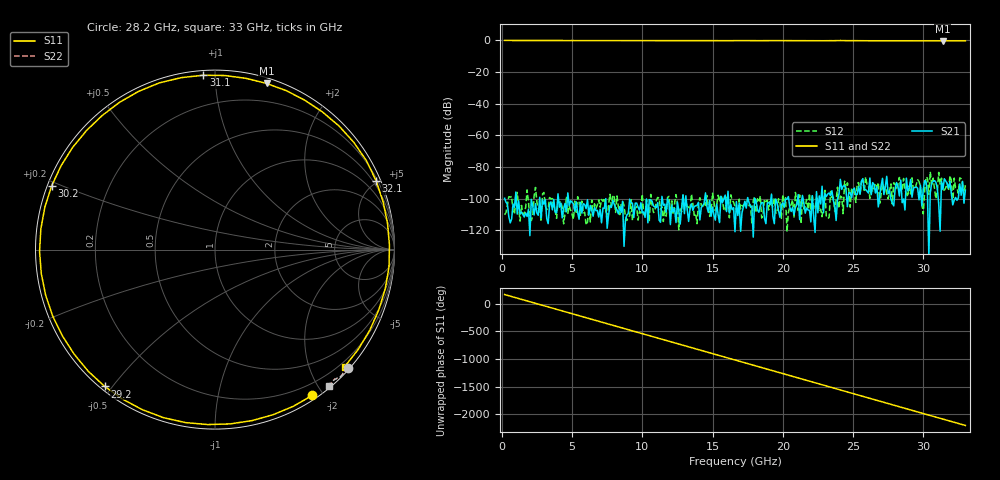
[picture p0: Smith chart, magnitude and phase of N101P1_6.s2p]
# GHZ S RI R 50
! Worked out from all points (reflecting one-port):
!   329 points, 200 MHz to 33 GHz, reference 50 ohm
!   lowest |S11| = -0.3 dB at 31.4 GHz (marker M1), VSWR 63.89, Z = 2.22 + j67.8 ohm
!   phase of S11 starts at 165 deg and turns -2368 deg over the sweep
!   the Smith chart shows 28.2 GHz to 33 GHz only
!   S11 on the Smith chart (normalised r, x): 28.2 GHz: 0.05, -1.87; 29.2 GHz: 0.01, -0.48; 30.2 GHz: 0.01, +0.19; 31.1 GHz: 0.03, +0.93; 32.1 GHz: 0.30, +4.88; 33 GHz: 0.10, -2.59
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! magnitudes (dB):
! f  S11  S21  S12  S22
! 200 MHz  0.0  -99.7  -110.2  0.0
! 5.7 GHz  -0.1  -109.1  -101.5  0.0
! 11.2 GHz  -0.2  -113.6  -99.8  0.0
! 16.6 GHz  -0.1  -120.9  -104.9  0.0
! 20.3 GHz  -0.1  -100.4  -120.9  -0.1
! 22.1 GHz  -0.2  -98.2  -97.5  -0.1
! 23.5 GHz  -0.2  -95.0  -99.4  -0.1
! 23.9 GHz  -0.1  -100.0  -92.8  0.1
! 24.3 GHz  -0.1  -92.0  -109.5  0.0
! 24.5 GHz  -0.1  -94.2  -93.9  0.0
! 26.1 GHz  -0.2  -96.5  -91.8  0.0
! 26.6 GHz  -0.2  -96.4  -90.5  -0.1
! 27.6 GHz  -0.2  -95.1  -94.9  0.0
! 28.2 GHz  -0.2  -92.1  -90.9  -0.1
! 28.6 GHz  -0.2  -100.2  -87.2  -0.1
! 29.2 GHz  -0.2  -99.0  -86.8  -0.1
! 30.2 GHz  -0.2  -89.2  -86.3  0.0
! 31.1 GHz  -0.2  -103.0  -83.4  -0.1
! 31.4 GHz  -0.3  -94.3  -94.7  -0.1
! 32.1 GHz  -0.2  -103.9  -103.3  -0.1
! 32.6 GHz  -0.2  -90.7  -86.9  -0.2
! 33 GHz  -0.2  -94.5  -91.3  -0.1
